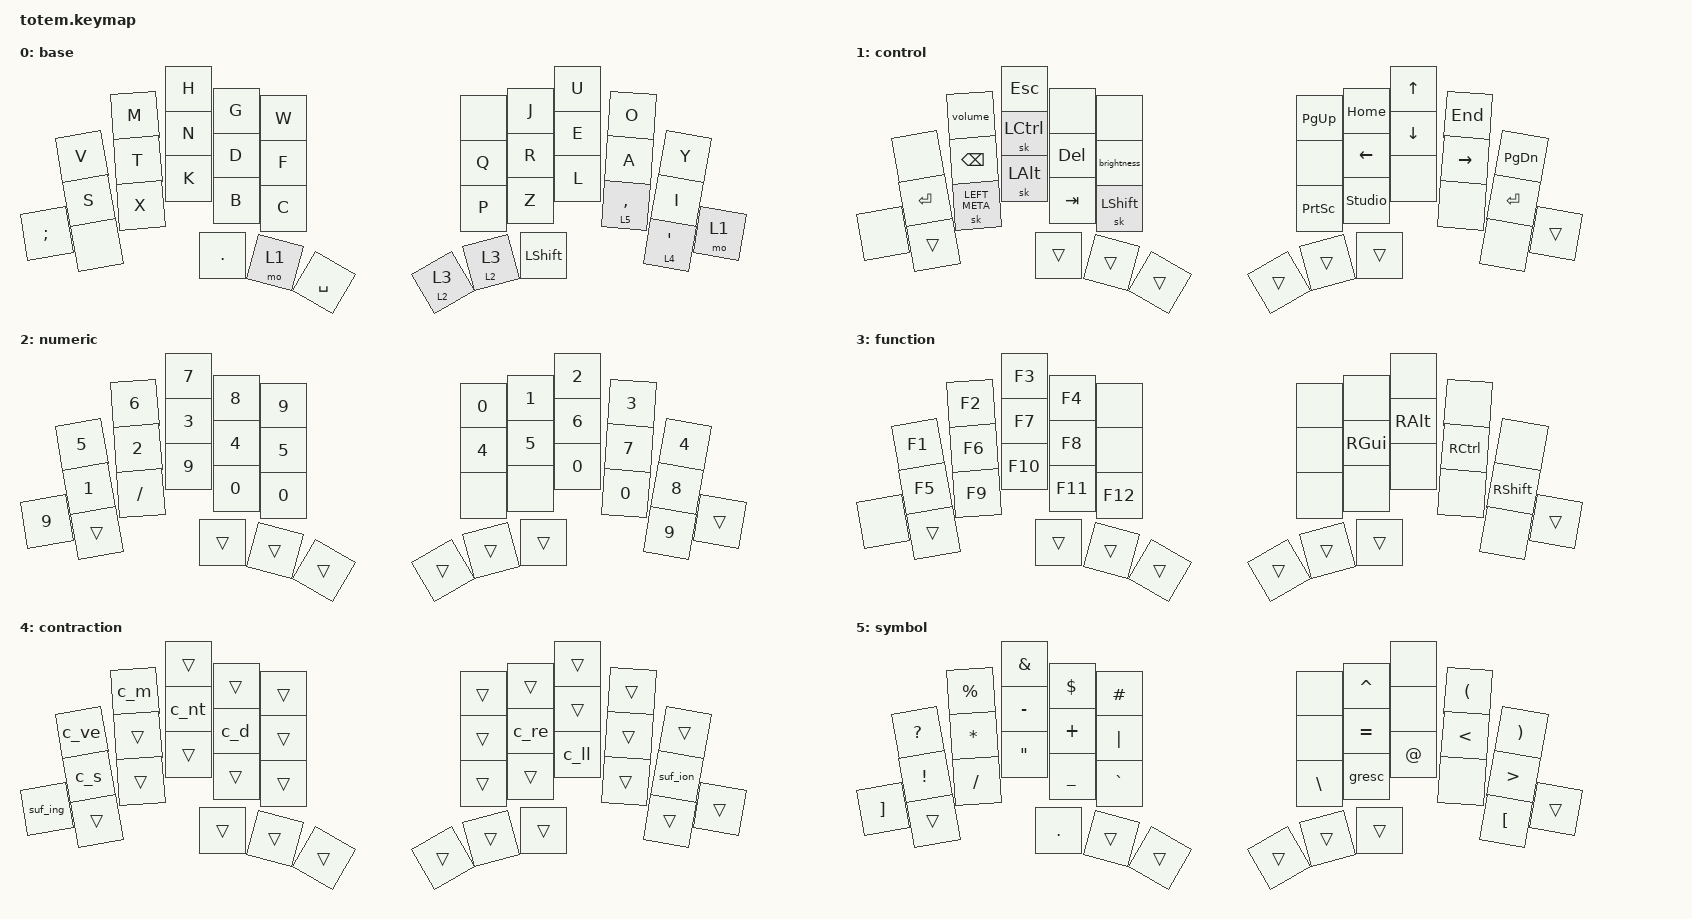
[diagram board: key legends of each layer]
#include <behaviors.dtsi>
#include <dt-bindings/zmk/keys.h>

&mt {
    quick-tap-ms = <100>;
    flavor = "tap-preferred";
    tapping-term-ms = <120>;
};

&sk { quick-release; };

/ {
    combos { compatible = "zmk,combos"; };

    macros {
        c_ve: c_ve {
            compatible = "zmk,behavior-macro";
            #binding-cells = <0>;
            bindings = <&kp SQT &kp V &kp E>;
            label = "C_VE";
            wait-ms = <0>;
            tap-ms = <0>;
        };

        c_s: c_s {
            compatible = "zmk,behavior-macro";
            #binding-cells = <0>;
            bindings = <&kp SQT &kp S>;
            label = "C_S";
            wait-ms = <0>;
            tap-ms = <0>;
        };

        c_m: c_m {
            compatible = "zmk,behavior-macro";
            #binding-cells = <0>;
            bindings = <&kp SQT &kp M>;
            label = "C_M";
            wait-ms = <0>;
            tap-ms = <0>;
        };

        c_nt: c_nt {
            compatible = "zmk,behavior-macro";
            #binding-cells = <0>;
            bindings = <&kp N &kp SQT &kp T>;
            label = "C_NT";
            wait-ms = <0>;
            tap-ms = <0>;
        };

        c_d: c_d {
            compatible = "zmk,behavior-macro";
            #binding-cells = <0>;
            bindings = <&kp SQT &kp D>;
            label = "C_D";
            wait-ms = <0>;
            tap-ms = <0>;
        };

        c_re: c_re {
            compatible = "zmk,behavior-macro";
            #binding-cells = <0>;
            bindings = <&kp SQT &kp R &kp E>;
            label = "C_RE";
            wait-ms = <0>;
            tap-ms = <0>;
        };

        c_ll: c_ll {
            compatible = "zmk,behavior-macro";
            #binding-cells = <0>;
            bindings = <&kp SQT &kp L &kp L>;
            label = "C_LL";
            wait-ms = <0>;
            tap-ms = <0>;
        };

        suf_ing: suf_ing {
            compatible = "zmk,behavior-macro";
            #binding-cells = <0>;
            bindings = <&kp I &kp N &kp G>;
            label = "SUF_ING";
            wait-ms = <0>;
            tap-ms = <0>;
        };

        suf_ion: suf_ion {
            compatible = "zmk,behavior-macro";
            #binding-cells = <0>;
            bindings = <&kp I &kp O &kp N>;
            label = "SUF_ION";
            wait-ms = <0>;
            tap-ms = <0>;
        };
    };

    behaviors {
        sl_mo: sl_mo {
            compatible = "zmk,behavior-hold-tap";
            label = "SL_MO";
            bindings = <&mo>, <&sl>;

            #binding-cells = <2>;
            tapping-term-ms = <120>;
            hold-while-undecided;
        };

        brightness: brightness {
            compatible = "zmk,behavior-tap-dance";
            label = "BRIGHTNESS";
            #binding-cells = <0>;
            bindings = <&kp C_BRIGHTNESS_DEC>, <&kp C_BRIGHTNESS_INC>;

            tapping-term-ms = <160>;
        };

        volume: volume {
            compatible = "zmk,behavior-tap-dance";
            label = "VOLUME";
            #binding-cells = <0>;
            tapping-term-ms = <160>;
            bindings = <&kp C_VOLUME_DOWN>, <&kp C_VOL_UP>;
        };
    };

    keymap {
        compatible = "zmk,keymap";

        base {
            bindings = <
       &kp V  &kp M  &kp H  &kp G      &kp W         &none       &kp J           &kp U        &kp O             &kp Y
       &kp S  &kp T  &kp N  &kp D      &kp F         &kp Q       &kp R           &kp E        &kp A             &kp I
&none  &kp X  &kp K  &kp B  &kp C      &kp P         &kp Z       &kp L           &lt 5 COMMA  &lt 4 APOSTROPHE  &kp SEMICOLON  &kp DOT
                     &mo 1  &kp SPACE  &sl_mo 2 3    &sl_mo 2 3  &kp LEFT_SHIFT  &mo 1
            >;
        };

        control {
            bindings = <
        &none          &volume       &kp ESCAPE  &none           &none              &kp PAGE_UP     &kp HOME  &kp UP    &kp END    &kp PAGE_DOWN
        &kp ENTER      &kp BSPC      &sk LCTRL   &kp DEL         &brightness        &none           &kp LEFT  &kp DOWN  &kp RIGHT  &kp ENTER
&trans  &sk LEFT_META  &sk LEFT_ALT  &kp TAB     &sk LEFT_SHIFT  &kp PRINTSCREEN    &studio_unlock  &none     &none     &none      &none          &trans
                                     &trans      &trans          &trans             &trans          &trans    &trans
            >;
        };

        numeric {
            bindings = <
        &kp N5    &kp N6  &kp N7  &kp N8  &kp N9    &kp N0  &kp N1  &kp N2  &kp N3  &kp N4
        &kp N1    &kp N2  &kp N3  &kp N4  &kp N5    &kp N4  &kp N5  &kp N6  &kp N7  &kp N8
&trans  &kp FSLH  &kp N9  &kp N0  &kp N0  &none     &none   &kp N0  &kp N0  &kp N9  &kp N9  &trans
                          &trans  &trans  &trans    &trans  &trans  &trans
            >;
        };

        function {
            bindings = <
        &kp F1  &kp F2   &kp F3   &kp F4   &none     &none   &none     &none     &none      &none
        &kp F5  &kp F6   &kp F7   &kp F8   &none     &none   &kp RGUI  &kp RALT  &kp RCTRL  &kp RSHFT
&trans  &kp F9  &kp F10  &kp F11  &kp F12  &none     &none   &none     &none     &none      &none      &trans
                         &trans   &trans   &trans    &trans  &trans    &trans
            >;
        };

        contraction {
            bindings = <
        &c_ve   &c_m    &trans  &trans  &trans    &trans  &trans  &trans  &trans  &trans
        &c_s    &trans  &c_nt   &c_d    &trans    &trans  &c_re   &trans  &trans  &suf_ion
&trans  &trans  &trans  &trans  &trans  &trans    &trans  &c_ll   &trans  &trans  &suf_ing  &trans
                        &trans  &trans  &trans    &trans  &trans  &trans
            >;
        };

        symbol {
            bindings = <
        &kp QMARK  &kp PRCNT  &kp AMPS   &kp DLLR   &kp HASH    &none   &kp CARET  &none   &kp LPAR  &kp RPAR
        &kp EXCL   &kp STAR   &kp MINUS  &kp PLUS   &kp PIPE    &none   &kp EQUAL  &none   &kp LT    &kp GT
&trans  &kp FSLH   &kp DQT    &kp UNDER  &kp GRAVE  &kp BSLH    &gresc  &kp AT     &none   &kp LBKT  &kp RBKT  &kp PERIOD
                              &trans     &trans     &trans      &trans  &trans     &trans
            >;
        };
    };
};
